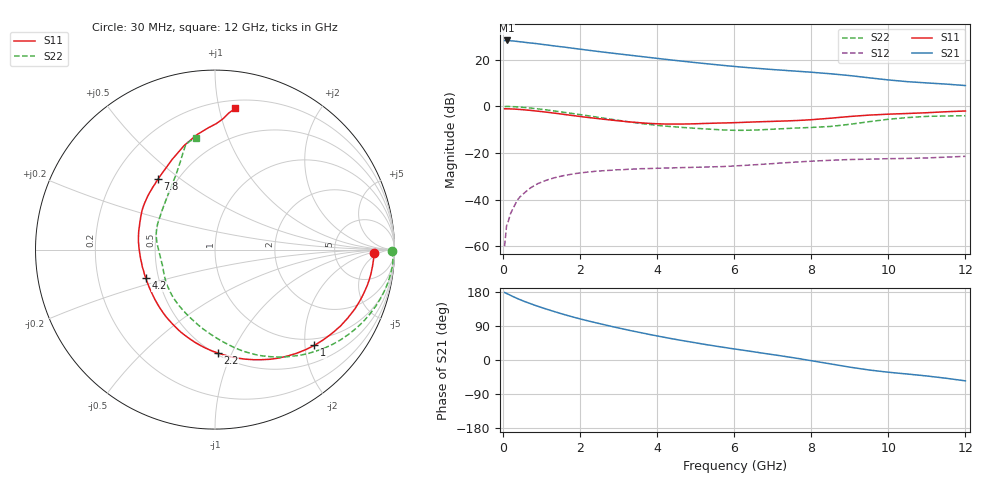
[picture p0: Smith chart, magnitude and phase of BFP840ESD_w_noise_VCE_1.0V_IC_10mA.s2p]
! Infineon Technologies  Discrete & RF Semiconductors
! BFP840ESD
! VCE =  1.0 V,  IC =  10 mA
! Common Emitter S-Parameters:  May 2012
# GHz  S  MA  R  50
!  f  S11  S21  S12  S22
! GHz  MAG  ANG  MAG  ANG  MAG  ANG  MAG  ANG
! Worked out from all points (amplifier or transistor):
!   93 points, 30 MHz to 12 GHz, reference 50 ohm
!   highest |S21| = 28.3 dB at 80 MHz (marker M1)
!   |S21| within 3 dB of that: start of sweep to 1.649 GHz
!   unconditionally stable (mu >= 1): 5.438 GHz to 10.29 GHz
!   at 1.1 GHz: K = 0.27, MSG = 29.1 dB, |S12| = -31.8 dB
!   at 4.2 GHz: K = 0.82, MSG = 23.3 dB, |S12| = -26.5 dB
!   at 12 GHz: K = 0.77, MSG = 15.2 dB, |S12| = -21.5 dB
!   lowest NFmin = 0.81 dB at 450 MHz
!   S11 on the Smith chart (normalised r, x): 30 MHz: 16, -3; 1 GHz: 0.85, -2.21; 2.2 GHz: 0.51, -0.89; 4.2 GHz: 0.42, -0.16; 7.8 GHz: 0.39, +0.41; 12 GHz: 0.26, +1.12
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0.03  0.8862 -1.4  25.68 178.1  0.001 76.6  0.9862 -0.4
0.08  0.8847 -3.8  25.86 175.6  0.0027 92.7  0.9931 -2.7
0.28  0.8718 -13.1  25.05 165.9  0.0072 83.2  0.9809 -10.8
0.5  0.8469 -22.9  23.89 156.4  0.0129 74.3  0.9513 -19.0
0.8  0.8014 -35.7  22.42 145.0  0.0199 66.5  0.8997 -29.3
1  0.769 -43.9  21.36 138.1  0.0238 61.1  0.861 -35.8
1.3  0.718 -55.6  19.84 128.5  0.0289 54.4  0.7995 -44.9
1.6  0.6658 -67.1  18.54 119.3  0.0332 48.2  0.7385 -53.4
2.1  0.5898 -84.9  16.37 105.7  0.0381 40.2  0.6445 -66.5
2.2  0.5764 -88.4  15.98 103.2  0.039 38.8  0.6271 -68.9
2.6  0.5282 -102.3  14.54 93.5  0.0415 33.9  0.5588 -78.5
3.1  0.4779 -119.5  13.01 82.1  0.0437 28.8  0.4847 -90.5
3.6  0.4409 -136.7  11.64 71.4  0.046 24.9  0.426 -103.6
4.1  0.4193 -154.0  10.43 61.4  0.0471 22.2  0.3833 -117.3
4.2  0.4172 -157.4  10.21 59.5  0.0474 21.6  0.3766 -120.0
5.2  0.4281 174.7  8.315 41.7  0.0497 17.9  0.3291 -145.0
6.1  0.4486 157.8  7.042 27.7  0.0531 17.0  0.3058 -166.0
7.8  0.5041 129.0  5.527 1.5  0.0652 10.8  0.3468 158.8
8.5  0.5563 115.4  4.987 -10.3  0.0695 6.2  0.3702 141.7
9.5  0.648 98.9  4.086 -26.4  0.0735 -0.9  0.4682 117.8
10.5  0.702 89.4  3.377 -37.1  0.0763 -6.3  0.5736 107.9
12  0.7941 81.9  2.788 -55.0  0.0846 -12.5  0.6282 99.6
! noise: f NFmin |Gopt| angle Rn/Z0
0.45  0.81  0.27  1  0.13
0.9  0.82  0.27  5  0.13
1.5  0.83  0.27  11  0.12
1.9  0.83  0.26  16  0.12
2.4  0.84  0.22  24  0.12
3.5  0.85  0.14  60  0.1
5.5  0.93  0.08  152  0.09
8  1.07  0.3  -125  0.11
10  1.21  0.47  -86  0.18
12  1.42  0.6  -71  0.28
